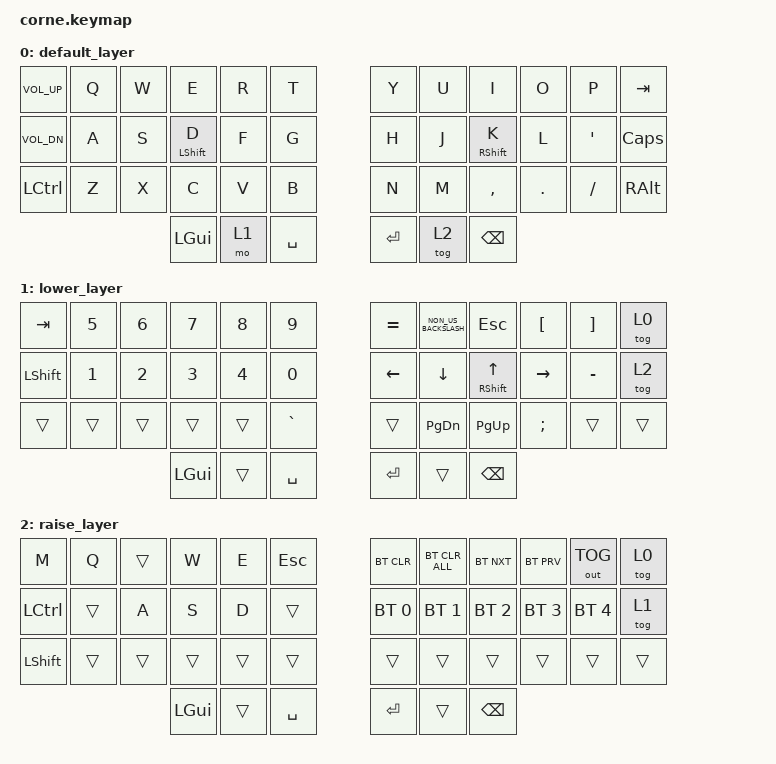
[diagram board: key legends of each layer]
/*
 * Copyright (c) 2020 The ZMK Contributors
 *
 * SPDX-License-Identifier: MIT
 */

#include <behaviors.dtsi>
#include <dt-bindings/zmk/bt.h>
#include <dt-bindings/zmk/keys.h>
#include <dt-bindings/zmk/outputs.h>

/ {
    keymap {
        compatible = "zmk,keymap";

        default_layer {
            // -----------------------------------------------------------------------------------------
            // |  TAB |  Q  |  W  |  E  |  R  |  T  |   |  Y  |  U   |  I  |  O  |  P  | BSPC |
            // | CTRL |  A  |  S  |  D  |  F  |  G  |   |  H  |  J   |  K  |  L  |  ;  |  '   |
            // | SHFT |  Z  |  X  |  C  |  V  |  B  |   |  N  |  M   |  ,  |  .  |  /  | ESC  |
            //                    | GUI | LWR | SPC |   | ENT | RSE  | ALT |

            bindings = <
&kp C_VOLUME_UP  &kp Q  &kp W  &kp E         &kp R  &kp T        &kp Y    &kp U   &kp I          &kp O    &kp P      &kp TAB
&kp C_VOL_DN     &kp A  &kp S  &mt LSHIFT D  &kp F  &kp G        &kp H    &kp J   &mt RSHFT K    &kp L    &kp SQT    &kp CLCK
&kp LCTRL        &kp Z  &kp X  &kp C         &kp V  &kp B        &kp N    &kp M   &kp COMMA      &kp DOT  &kp SLASH  &kp RIGHT_ALT
                               &kp LGUI      &mo 1  &kp SPACE    &kp RET  &tog 2  &kp BACKSPACE
            >;
        };

        lower_layer {
            // -----------------------------------------------------------------------------------------
            // |  TAB |  1  |  2  |  3  |  4  |  5  |   |  6  |  7  |  8  |  9  |  0  | BSPC |
            // | BTCLR| BT1 | BT2 | BT3 | BT4 | BT5 |   | LFT | DWN |  UP | RGT |     |      |
            // | SHFT |     |     |     |     |     |   |     |     |     |     |     |      |
            //                    | GUI |     | SPC |   | ENT |     | ALT |

            bindings = <
&kp TAB    &kp N5        &kp NUMBER_6  &kp N7        &kp N8        &kp N9       &kp EQUAL  &kp NON_US_BACKSLASH  &kp ESC             &kp LEFT_BRACKET  &kp RIGHT_BRACKET  &tog 0
&kp LSHFT  &kp NUMBER_1  &kp NUMBER_2  &kp NUMBER_3  &kp NUMBER_4  &kp N0       &kp LEFT   &kp DOWN              &mt RSHFT UP_ARROW  &kp RIGHT         &kp MINUS          &tog 2
&trans     &trans        &trans        &trans        &trans        &kp GRAVE    &trans     &kp PAGE_DOWN         &kp PAGE_UP         &kp SEMICOLON     &trans             &trans
                                       &kp LGUI      &trans        &kp SPACE    &kp RET    &trans                &kp BACKSPACE
            >;
        };

        raise_layer {
            // -----------------------------------------------------------------------------------------
            // |  TAB |  !  |  @  |  #  |  $  |  %  |   |  ^  |  &  |  *  |  (  |  )  | BSPC |
            // | CTRL |     |     |     |     |     |   |  -  |  =  |  [  |  ]  |  \  |  `   |
            // | SHFT |     |     |     |     |     |   |  _  |  +  |  {  |  }  | "|" |  ~   |
            //                    | GUI |     | SPC |   | ENT |     | ALT |

            bindings = <
&kp M      &kp Q   &trans  &kp W     &kp E   &kp ESCAPE    &bt BT_CLR    &bt BT_CLR_ALL  &bt BT_NXT     &bt BT_PRV    &out OUT_TOG  &tog 0
&kp LCTRL  &trans  &kp A   &kp S     &kp D   &trans        &bt BT_SEL 0  &bt BT_SEL 1    &bt BT_SEL 2   &bt BT_SEL 3  &bt BT_SEL 4  &tog 1
&kp LSHFT  &trans  &trans  &trans    &trans  &trans        &trans        &trans          &trans         &trans        &trans        &trans
                           &kp LGUI  &trans  &kp SPACE     &kp RET       &trans          &kp BACKSPACE
            >;
        };
    };
};
